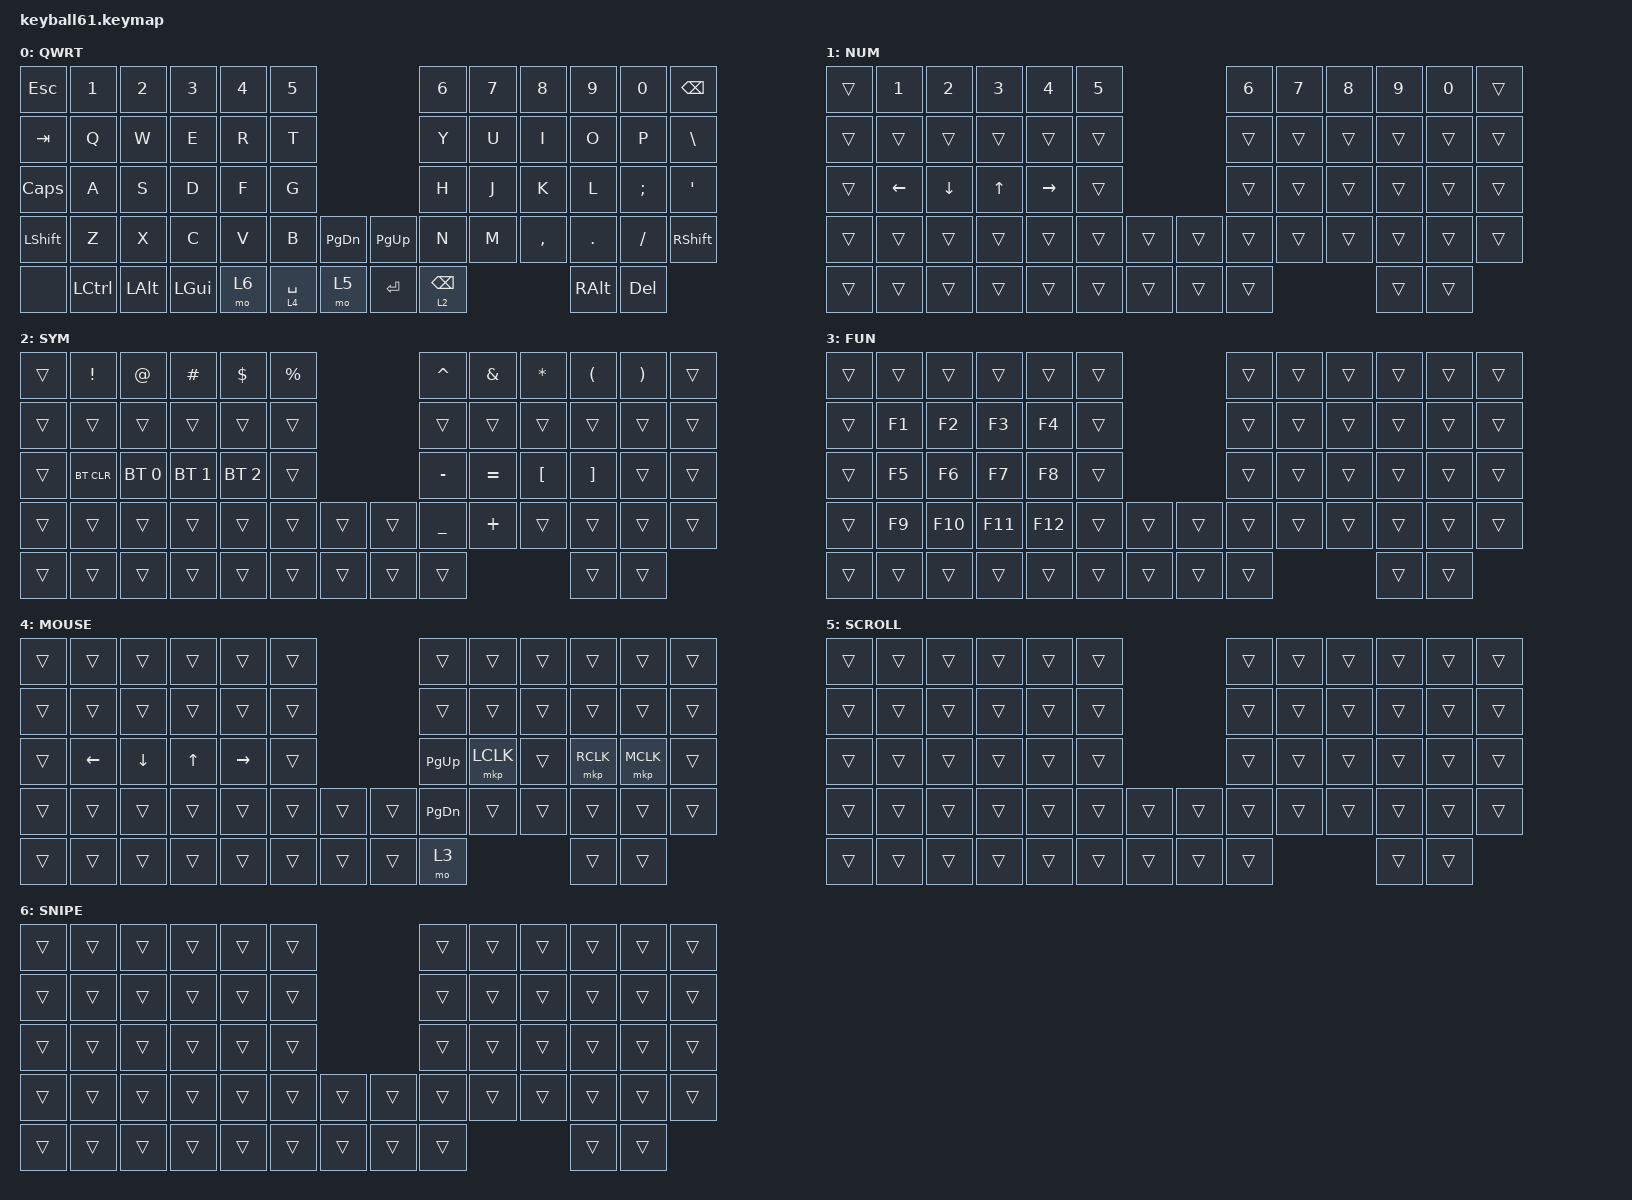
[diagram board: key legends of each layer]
#include <behaviors.dtsi>
#include <dt-bindings/zmk/bt.h>
#include <dt-bindings/zmk/keys.h>
#include <dt-bindings/zmk/mouse.h>

&lt {
    tapping-term-ms = <240>;
    flavor = "balanced";
    quick-tap-ms = <150>;
};

/ {
    keymap {
        compatible = "zmk,keymap";

        default_layer {
            label = "QWRT";
            bindings = <
&kp ESC    &kp N1     &kp N2     &kp N3     &kp N4     &kp N5                               &kp N6     &kp N7     &kp N8     &kp N9     &kp N0     &kp BSPC
&kp TAB    &kp Q      &kp W      &kp E      &kp R      &kp T                                &kp Y      &kp U      &kp I      &kp O      &kp P      &kp BSLH
&kp CAPS   &kp A      &kp S      &kp D      &kp F      &kp G                                &kp H      &kp J      &kp K      &kp L      &kp SEMI   &kp SQT
&kp LSHFT  &kp Z      &kp X      &kp C      &kp V      &kp B      &kp PG_DN      &kp PG_UP  &kp N      &kp M      &kp COMMA  &kp DOT    &kp FSLH   &kp RSHFT
&none      &kp LCTRL  &kp LALT   &kp LGUI   &mo 6      &lt 4 SPACE &mo 5         &kp ENTER  &lt 2 BSPC                       &kp RALT   &kp DEL
            >;
        };

        number_layer {
            label = "NUM";
            bindings = <
&trans  &kp N1    &kp N2    &kp N3  &kp N4     &kp N5                  &kp N6  &kp N7  &kp N8  &kp N9  &kp N0  &trans
&trans  &trans    &trans    &trans  &trans     &trans                  &trans  &trans  &trans  &trans  &trans  &trans
&trans  &kp LEFT  &kp DOWN  &kp UP  &kp RIGHT  &trans                  &trans  &trans  &trans  &trans  &trans  &trans
&trans  &trans    &trans    &trans  &trans     &trans  &trans  &trans  &trans  &trans  &trans  &trans  &trans  &trans
&trans  &trans    &trans    &trans  &trans     &trans  &trans  &trans  &trans                          &trans  &trans
            >;
        };

        symbol_layer {
            label = "SYM";
            bindings = <
&trans  &kp EXCL  &kp AT    &kp HASH &kp DLLR   &kp PRCNT               &kp CARET &kp AMPS  &kp ASTRK &kp LPAR  &kp RPAR  &trans
&trans  &trans    &trans    &trans  &trans     &trans                  &trans  &trans  &trans  &trans  &trans  &trans
&trans  &bt BT_CLR &bt BT_SEL 0 &bt BT_SEL 1 &bt BT_SEL 2 &trans      &kp MINUS &kp EQUAL &kp LBKT  &kp RBKT  &trans  &trans
&trans  &trans    &trans    &trans  &trans     &trans  &trans  &trans  &kp UNDER &kp PLUS  &trans  &trans  &trans  &trans
&trans  &trans    &trans    &trans  &trans     &trans  &trans  &trans  &trans                          &trans  &trans
            >;
        };

        function_layer {
            label = "FUN";
            bindings = <
&trans  &trans  &trans   &trans   &trans   &trans                  &trans  &trans  &trans  &trans  &trans  &trans
&trans  &kp F1  &kp F2   &kp F3   &kp F4   &trans                  &trans  &trans  &trans  &trans  &trans  &trans
&trans  &kp F5  &kp F6   &kp F7   &kp F8   &trans                  &trans  &trans  &trans  &trans  &trans  &trans
&trans  &kp F9  &kp F10  &kp F11  &kp F12  &trans  &trans  &trans  &trans  &trans  &trans  &trans  &trans  &trans
&trans  &trans  &trans   &trans   &trans   &trans  &trans  &trans  &trans                          &trans  &trans
            >;
        };

        mouse_layer {
            label = "MOUSE";
            bindings = <
&trans  &trans    &trans    &trans  &trans     &trans                  &trans         &trans     &trans  &trans     &trans     &trans
&trans  &trans    &trans    &trans  &trans     &trans                  &trans         &trans     &trans  &trans     &trans     &trans
&trans  &kp LEFT  &kp DOWN  &kp UP  &kp RIGHT  &trans                  &kp PG_UP      &mkp LCLK  &trans  &mkp RCLK  &mkp MCLK  &trans
&trans  &trans    &trans    &trans  &trans     &trans  &trans  &trans  &kp PG_DN      &trans     &trans  &trans     &trans     &trans
&trans  &trans    &trans    &trans  &trans     &trans  &trans  &trans  &mo 3                                        &trans     &trans
            >;
        };

        scroll_layer {
            label = "SCROLL";
            bindings = <
&trans &trans &trans &trans &trans &trans                    &trans &trans &trans &trans &trans &trans
&trans &trans &trans &trans &trans &trans                    &trans &trans &trans &trans &trans &trans
&trans &trans &trans &trans &trans &trans                    &trans &trans &trans &trans &trans &trans
&trans &trans &trans &trans &trans &trans &trans     &trans  &trans &trans &trans &trans &trans &trans
&trans &trans &trans &trans &trans &trans &trans     &trans  &trans                       &trans &trans
            >;
        };

        snipe_layer {
            label = "SNIPE";
            bindings = <
&trans &trans &trans &trans &trans &trans                    &trans &trans &trans &trans &trans &trans
&trans &trans &trans &trans &trans &trans                    &trans &trans &trans &trans &trans &trans
&trans &trans &trans &trans &trans &trans                    &trans &trans &trans &trans &trans &trans
&trans &trans &trans &trans &trans &trans &trans     &trans  &trans &trans &trans &trans &trans &trans
&trans &trans &trans &trans &trans &trans &trans     &trans  &trans                       &trans &trans
            >;
        };
    };
};
